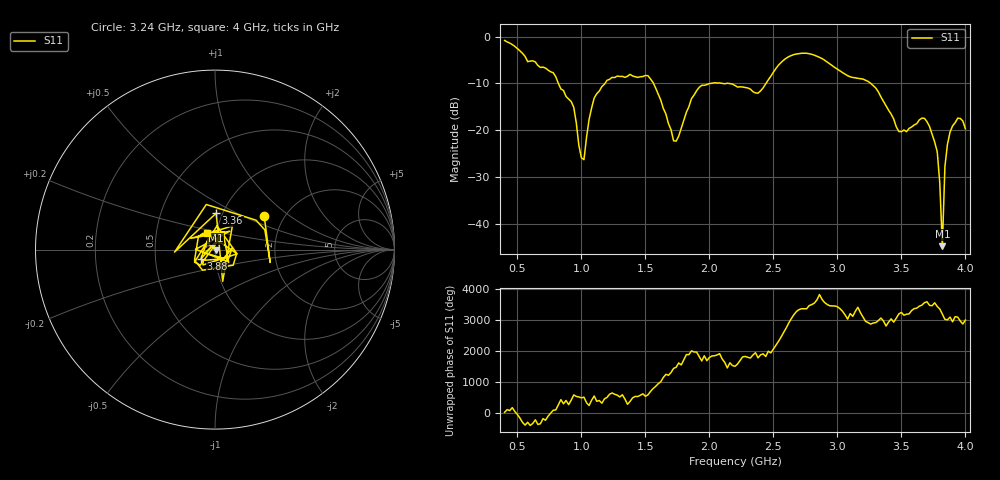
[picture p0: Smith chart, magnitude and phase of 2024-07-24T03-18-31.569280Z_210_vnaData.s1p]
!Created with skrf (http://scikit-rf.org).
# Hz S RI R 50.0
!freq ReS11 ImS11
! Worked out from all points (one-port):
!   181 points, 400 MHz to 4 GHz, reference 50 ohm
!   lowest |S11| = -44.8 dB at 3.82 GHz (marker M1), VSWR 1.01, Z = 50.4 - j0.431 ohm
!   |S11| at or under -10 dB: 819.6 MHz to 1.185 GHz (365 MHz wide, 36.4 % of centre); 1.563 GHz to 2.021 GHz (457.9 MHz wide, 25.6 % of centre); 3.259 GHz to end of sweep (the widest 3 of 5)
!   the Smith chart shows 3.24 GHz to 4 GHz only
!   S11 on the Smith chart (normalised r, x): 3.24 GHz: 1.59, +0.66; 3.36 GHz: 0.93, +0.39; 3.88 GHz: 0.85, -0.09; 4 GHz: 0.90, +0.17
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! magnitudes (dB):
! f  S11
! 400 MHz  -0.8
! 860 MHz  -11.5
! 940 MHz  -15.1
! 980 MHz  -23.3
! 1.02 GHz  -26.3
! 1.1 GHz  -13.1
! 1.3 GHz  -8.5
! 1.52 GHz  -8.4
! 1.72 GHz  -22.3
! 1.76 GHz  -21.3
! 1.92 GHz  -10.9
! 2.2 GHz  -10.5
! 2.38 GHz  -12.1
! 2.66 GHz  -3.9
! 3.1 GHz  -8.6
! 3.24 GHz  -9.6
! 3.36 GHz  -13.9
! 3.48 GHz  -20.3
! 3.56 GHz  -19.7
! 3.68 GHz  -17.5
! 3.76 GHz  -22.6
! 3.78 GHz  -24.6
! 3.8 GHz  -31.4
! 3.82 GHz  -44.8
! 3.84 GHz  -27.8
! 3.88 GHz  -20.4
! 3.94 GHz  -17.5
! 4 GHz  -19.7
